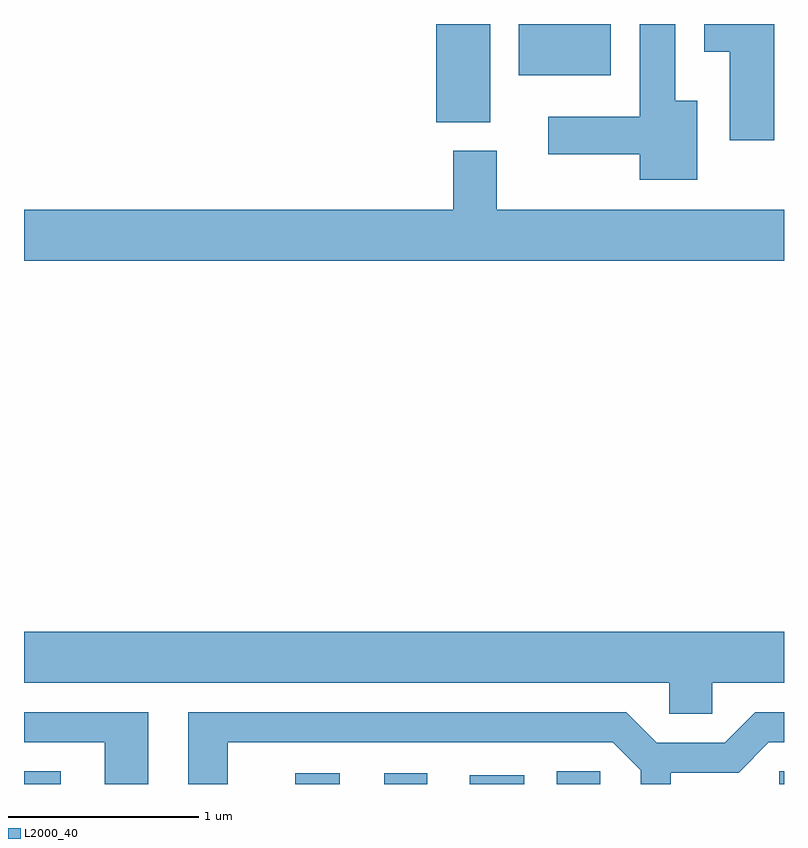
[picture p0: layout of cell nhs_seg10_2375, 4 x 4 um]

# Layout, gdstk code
import gdstk
lib = gdstk.Library(unit=1e-6, precision=1e-09)
def R(c, l, rs):  # rectangles x0, y0, x1, y1
    for r in rs: c.add(gdstk.rectangle(r[:2], r[2:], *l))
def P(c, l, *ps):  # polygons
    for p in ps: c.add(gdstk.Polygon(p, *l))
L2000_40 = (2000, 40)

nhs_seg10_2375 = lib.new_cell('nhs_seg10_2375')
R(nhs_seg10_2375, L2000_40, [(255.611,2084.522,255.804,2084.589), (257.038,2084.522,257.274,2084.579), (257.506,2084.522,257.734,2084.579), (257.957,2084.522,258.244,2084.569), (258.416,2084.522,258.644,2084.589), (259.587,2084.522,259.611,2084.589), (257.781,2088.006,258.064,2088.522), (258.216,2088.251,258.699,2088.522)])
P(nhs_seg10_2375, L2000_40, [(259.559,2088.522),(259.191,2088.522),(259.191,2088.376),(259.326,2088.376),(259.326,2087.911),(259.559,2087.911)],
  [(259.154,2088.119),(259.039,2088.119),(259.039,2088.522),(258.851,2088.522),(258.851,2088.034),(258.371,2088.034),(258.371,2087.836),(258.851,2087.836),(258.851,2087.701),(259.154,2087.701)],
  [(259.611,2087.544),(258.099,2087.544),(258.099,2087.854),(257.871,2087.854),(257.871,2087.544),(255.611,2087.544),(255.611,2087.276),(259.611,2087.276)],
  [(259.234,2085.056),(259.611,2085.056),(259.611,2085.324),(255.611,2085.324),(255.611,2085.056),(259.006,2085.056),(259.006,2084.891),(259.234,2084.891)],
  [(256.684,2084.741),(258.709,2084.741),(258.856,2084.594),(258.856,2084.522),(259.014,2084.522),(259.014,2084.581),(259.372,2084.581),(259.532,2084.741),(259.611,2084.741),(259.611,2084.899),(259.459,2084.899),(259.299,2084.739),(258.942,2084.739),(258.782,2084.899),(256.476,2084.899),(256.476,2084.522),(256.684,2084.522)],
  [(256.264,2084.899),(255.611,2084.899),(255.611,2084.741),(256.036,2084.741),(256.036,2084.522),(256.264,2084.522)])

lib.write_gds('nhs_seg10_2375.gds')
